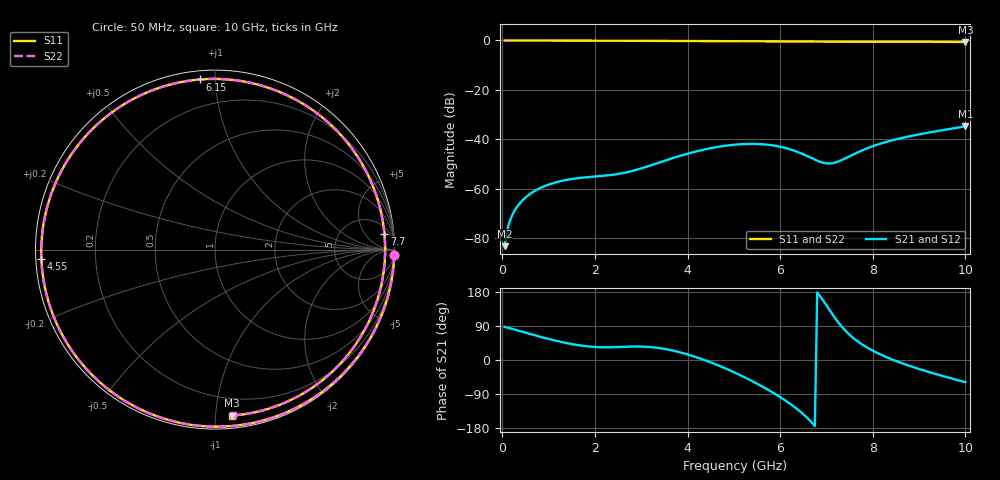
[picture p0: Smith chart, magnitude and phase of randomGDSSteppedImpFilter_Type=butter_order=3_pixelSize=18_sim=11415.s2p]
! freq	dB(S11)	phase(S11)	dB(S12)	phase(S12)
!  dB(S21)	phase(S21)	dB(S22)	phase(S22)
!S-par simulation data
#  GHz  S  DB  R 50
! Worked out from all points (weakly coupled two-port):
!   200 points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, 50 MHz to 10 GHz, reference 50 ohm
!   highest |S21| = -34.80 dB at 10 GHz (marker M1); lowest = -83.3 dB at 50 MHz (marker M2)
!   lowest |S11| = -0.6 dB at 10 GHz (marker M3), VSWR 27.41, Z = 4.05 - j55.1 ohm
!   |S11| at or under -10 dB: nowhere
!   |S22| runs from -0.6 to 0.0 dB; largest |S21 - S12| = 0
!   S11 on the Smith chart (normalised r, x): 50 MHz: 1, -61; 4.55 GHz: 0.02, -0.03; 6.15 GHz: 0.05, +0.91; 7.7 GHz: 9, +16; 10 GHz: 0.08, -1.10
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0.05  -0.00 -1.9  -83.32 87.6  -83.32 87.6  -0.00 -1.9
0.15  -0.01 -5.5  -73.84 84.3  -73.84 84.3  -0.01 -5.5
0.25  -0.01 -9.2  -69.45 80.9  -69.45 80.9  -0.01 -9.2
0.55  -0.02 -20.2  -62.85 70.3  -62.85 70.3  -0.02 -20.2
1.05  -0.05 -38.4  -58.06 54.0  -58.06 54.0  -0.05 -38.4
1.75  -0.08 -64.0  -55.54 37.3  -55.54 37.3  -0.08 -63.9
2.2  -0.11 -80.5  -54.80 33.5  -54.80 33.5  -0.10 -80.5
2.6  -0.13 -95.5  -53.75 34.7  -53.75 34.7  -0.13 -95.4
3.4  -0.18 -126.6  -49.37 31.3  -49.37 31.3  -0.18 -126.4
4  -0.22 -151.7  -45.86 14.6  -45.86 14.6  -0.22 -151.4
4.55  -0.28 -176.8  -43.45 -8.7  -43.45 -8.7  -0.27 -176.3
5.05  -0.33 158.1  -42.16 -34.9  -42.16 -34.9  -0.33 158.8
5.65  -0.39 124.9  -42.09 -72.4  -42.09 -72.4  -0.39 125.8
6.15  -0.43 95.1  -43.74 -110.0  -43.74 -110.0  -0.43 96.2
6.4  -0.44 79.9  -45.31 -132.6  -45.31 -132.6  -0.44 81.1
6.7  -0.45 61.7  -47.83 -167.2  -47.83 -167.2  -0.45 62.9
7.1  -0.46 38.1  -49.79 125.9  -49.79 125.9  -0.46 39.3
7.4  -0.46 21.3  -47.81 78.4  -47.81 78.4  -0.46 22.4
7.7  -0.46 5.4  -45.08 46.8  -45.08 46.8  -0.46 6.5
8.35  -0.48 -25.3  -40.79 4.8  -40.79 4.8  -0.48 -24.3
9.15  -0.53 -56.7  -37.50 -29.4  -37.50 -29.4  -0.53 -55.9
10  -0.63 -84.3  -34.80 -58.4  -34.80 -58.4  -0.64 -83.7
